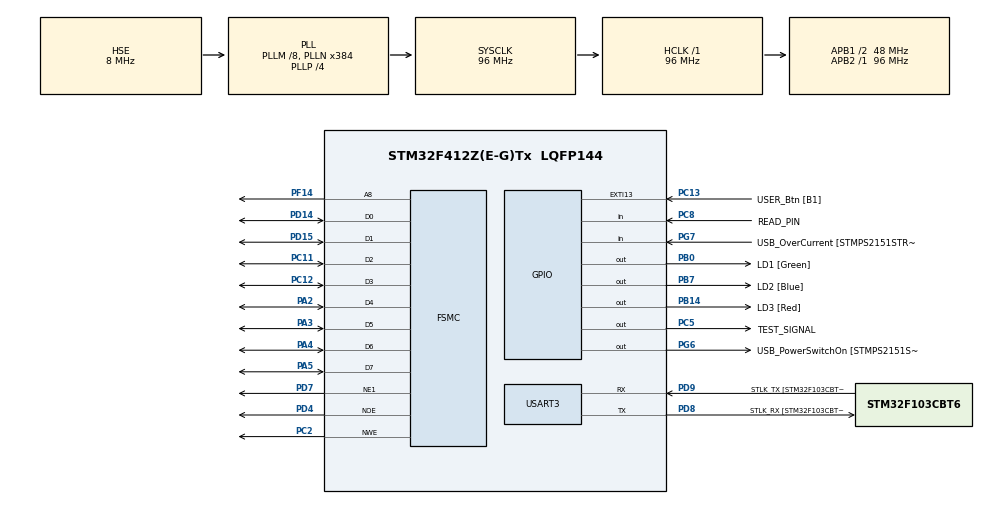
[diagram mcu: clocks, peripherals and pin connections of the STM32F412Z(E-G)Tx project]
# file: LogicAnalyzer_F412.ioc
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FREERTOS.Tasks01=defaultTask,40,128,StartDefaultTask,Default,NULL,Dynamic,NULL,NULL
FREERTOS.configUSE_NEWLIB_REENTRANT=1
FSMC.AddressSetupTime1=0
FSMC.BusTurnAroundDuration1=0
FSMC.DataSetupTime1=1
Mcu.Family=STM32F4
Mcu.Name=STM32F412Z(E-G)Tx
Mcu.Package=LQFP144
NVIC.PriorityGroup=NVIC_PRIORITYGROUP_4
NVIC.TIM1_UP_TIM10_IRQn=true\:15\:0\:false\:false\:true\:false\:false\:true
NVIC.TimeBase=TIM1_UP_TIM10_IRQn
NVIC.TimeBaseIP=TIM1
PA10.GPIO_Label=USB_ID
PA10.Signal=USB_OTG_FS_ID
PA11.GPIO_Label=USB_DM
PA11.Signal=USB_OTG_FS_DM
PA12.GPIO_Label=USB_DP
PA12.Signal=USB_OTG_FS_DP
PA13.GPIO_Label=TMS
PA13.Mode=Serial_Wire
PA13.Signal=SYS_JTMS-SWDIO
PA14.GPIO_Label=TCK
PA14.Mode=Serial_Wire
PA14.Signal=SYS_JTCK-SWCLK
PA2.Signal=FSMC_D4_DA4
PA3.Signal=FSMC_D5_DA5
PA4.Signal=FSMC_D6_DA6
PA5.Signal=FSMC_D7_DA7
PA8.GPIO_Label=USB_SOF [TP1]
PA8.Signal=USB_OTG_FS_SOF
PA9.GPIO_Label=USB_VBUS
PA9.Signal=USB_OTG_FS_VBUS
PB0.GPIO_Label=LD1 [Green]
PB0.Signal=GPIO_Output
PB14.GPIO_Label=LD3 [Red]
PB14.Signal=GPIO_Output
PB3.GPIO_Label=SWO
PB3.Signal=SYS_JTDO-SWO
PB7.GPIO_Label=LD2 [Blue]
PB7.Signal=GPIO_Output
PC11.Signal=FSMC_D2_DA2
PC12.Signal=FSMC_D3_DA3
PC13.GPIO_Label=USER_Btn [B1]
PC13.Signal=GPXTI13
PC14-OSC32_IN.Mode=LSE-External-Oscillator
PC14-OSC32_IN.Signal=RCC_OSC32_IN
PC15-OSC32_OUT.Mode=LSE-External-Oscillator
PC15-OSC32_OUT.Signal=RCC_OSC32_OUT
PC2.Signal=FSMC_NWE
PC5.GPIO_Label=TEST_SIGNAL
PC5.GPIO_Speed=GPIO_SPEED_FREQ_VERY_HIGH
PC5.PinState=GPIO_PIN_SET
PC5.Signal=GPIO_Output
PC8.GPIO_Label=READ_PIN
PC8.Signal=GPIO_Input
PD14.Signal=FSMC_D0_DA0
PD15.Signal=FSMC_D1_DA1
PD4.Signal=FSMC_NOE
PD7.Mode=NorPsramChipSelect1_1
PD7.Signal=FSMC_NE1
PD8.GPIO_Label=STLK_RX [STM32F103CBT6_PA3]
PD8.Mode=Asynchronous
PD8.Signal=USART3_TX
PD9.GPIO_Label=STLK_TX [STM32F103CBT6_PA2]
PD9.Mode=Asynchronous
PD9.Signal=USART3_RX
PF14.Signal=FSMC_A8
PG6.GPIO_Label=USB_PowerSwitchOn [STMPS2151STR_EN]
PG6.Signal=GPIO_Output
PG7.GPIO_Label=USB_OverCurrent [STMPS2151STR_FAULT]
PG7.Signal=GPIO_Input
PH0\ -\ OSC_IN.GPIO_Label=MCO
PH0\ -\ OSC_IN.Mode=HSE-External-Clock-Source
PH0\ -\ OSC_IN.Signal=RCC_OSC_IN
PH1\ -\ OSC_OUT.Mode=HSE-External-Clock-Source
PH1\ -\ OSC_OUT.Signal=RCC_OSC_OUT
ProjectManager.HeapSize=0x200
ProjectManager.StackSize=0x400
ProjectManager.TargetToolchain=STM32CubeIDE
RCC.48MHZClocksFreq_Value=24000000
RCC.AHBFreq_Value=96000000
RCC.APB1CLKDivider=RCC_HCLK_DIV2
RCC.APB1Freq_Value=48000000
RCC.APB1TimFreq_Value=96000000
RCC.APB2Freq_Value=96000000
RCC.APB2TimFreq_Value=96000000
RCC.CortexFreq_Value=96000000
RCC.HCLKFreq_Value=96000000
RCC.HSE_VALUE=8000000
RCC.HSI_VALUE=16000000
RCC.PLLM=8
RCC.PLLMUL=RCC_PLL_MUL9
RCC.PLLN=384
RCC.PLLP=RCC_PLLP_DIV4
RCC.PLLQ=8
RCC.PLLSourceVirtual=RCC_PLLSOURCE_HSE
RCC.PRESCALERUSB=RCC_USBCLKSOURCE_PLL_DIV1_5
RCC.SYSCLKFreq_VALUE=96000000
RCC.SYSCLKSource=RCC_SYSCLKSOURCE_PLLCLK
RCC.SYSCLKSourceVirtual=RCC_SYSCLKSOURCE_PLLCLK
RCC.USBFreq_Value=48000000
RCC.VCOOutputFreq_Value=384000000
SH.FSMC_A8.0=FSMC_A8,A8_1
SH.FSMC_D0_DA0.0=FSMC_D0,8b-d1
SH.FSMC_D1_DA1.0=FSMC_D1,8b-d1
SH.FSMC_D2_DA2.0=FSMC_D2,8b-d1
SH.FSMC_D3_DA3.0=FSMC_D3,8b-d1
SH.FSMC_D4_DA4.0=FSMC_D4,8b-d1
SH.FSMC_D5_DA5.0=FSMC_D5,8b-d1
SH.FSMC_D6_DA6.0=FSMC_D6,8b-d1
SH.FSMC_D7_DA7.0=FSMC_D7,8b-d1
SH.FSMC_NOE.0=FSMC_NOE,Lcd1
SH.FSMC_NWE.0=FSMC_NWE,Lcd1
TIM2.Channel-Output\ Compare1\ No\ Output=TIM_CHANNEL_1
TIM2.Prescaler=95
USART3.VirtualMode=VM_ASYNC
VP_FREERTOS_VS_CMSIS_V2.Mode=CMSIS_V2
VP_SYS_VS_tim1.Mode=TIM1
VP_TIM2_VS_no_output1.Mode=Output Compare1 No Output
board=NUCLEO-F412ZG

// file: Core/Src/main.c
/* USER CODE BEGIN Header */
/**
  ******************************************************************************
  * @file           : main.c
  * @brief          : Main program body
  ******************************************************************************
  * @attention
  *
  * <h2><center>&copy; Copyright (c) 2021 STMicroelectronics.
  * All rights reserved.</center></h2>
  *
  * This software component is licensed by ST under BSD 3-Clause license,
  * the "License"; You may not use this file except in compliance with the
  * License. You may obtain a copy of the License at:
  *                        opensource.org/licenses/BSD-3-Clause
  *
  ******************************************************************************
  */
/* USER CODE END Header */
#include "main.h"
#include "cmsis_os.h"

/* USER CODE BEGIN Includes */
//#include "usbd_cdc_if.h"
#include "work.h"
#include "cmsis_os2.h"
/* USER CODE END Includes */

TIM_HandleTypeDef htim2;

UART_HandleTypeDef huart3;

SRAM_HandleTypeDef hsram1;

/* Definitions for defaultTask */
osThreadId_t defaultTaskHandle;
const osThreadAttr_t defaultTask_attributes = {
  .name = "defaultTask",
  .stack_size = 128 * 4,
  .priority = (osPriority_t) osPriorityHigh,
};
/* USER CODE BEGIN PV */
uint8_t usb_receive_flag = 0;
osThreadId_t read_signal_id;
//extern USBD_HandleTypeDef hUsbDeviceFS;
uint32_t counter = 0;
osMessageQueueId_t messageQueueId;
/* USER CODE END PV */

void SystemClock_Config(void);
static void MX_GPIO_Init(void);
static void MX_USART3_UART_Init(void);
static void MX_TIM2_Init(void);
static void MX_FSMC_Init(void);
void StartDefaultTask(void *argument);

int main(void)
{

  /* MCU Configuration--------------------------------------------------------*/

  /* Reset of all peripherals, Initializes the Flash interface and the Systick. */
  HAL_Init();

  /* Configure the system clock */
  SystemClock_Config();

  /* Initialize all configured peripherals */
  MX_GPIO_Init();
  MX_USART3_UART_Init();
  MX_TIM2_Init();
  MX_FSMC_Init();

  /* Init scheduler */
  osKernelInitialize();

  /* USER CODE BEGIN RTOS_SEMAPHORES */
  /* add semaphores, ... */
  osSemaphoreId_t semaphore_id = osSemaphoreNew(1U,1U,NULL);
  /* USER CODE END RTOS_SEMAPHORES */

  /* USER CODE BEGIN RTOS_QUEUES */
  /* add queues, ... */
  messageQueueId = osMessageQueueNew(10,4,NULL);
  /* USER CODE END RTOS_QUEUES */

  /* Create the thread(s) */
  /* creation of defaultTask */
  defaultTaskHandle = osThreadNew(StartDefaultTask, NULL, &defaultTask_attributes);

  /* USER CODE BEGIN RTOS_THREADS */
  /* add threads, ... */
  osThreadAttr_t attr = {
          .name = "read_signal",
          .stack_size = 128 * 4,
          .priority = (osPriority_t) osPriorityHigh,
  };
  osThreadAttr_t attr2 = {
          .name = "wait_command",
          .stack_size = 128 * 4,
          .priority = (osPriority_t) osPriorityNormal,
  };
  osThreadNew(WaitCommandThread, NULL, &attr2);
  read_signal_id = osThreadNew(ReadSignalThread, NULL, &attr);

  /* USER CODE END RTOS_THREADS */

  /* Start scheduler */
  osKernelStart();

  /* We should never get here as control is now taken by the scheduler */
  /* Infinite loop */
  while (1)
  {

  }
}

void SystemClock_Config(void)
{
  RCC_OscInitTypeDef RCC_OscInitStruct = {0};
  RCC_ClkInitTypeDef RCC_ClkInitStruct = {0};

  /** Configure the main internal regulator output voltage
  */
  __HAL_RCC_PWR_CLK_ENABLE();
  __HAL_PWR_VOLTAGESCALING_CONFIG(PWR_REGULATOR_VOLTAGE_SCALE1);
  /** Initializes the RCC Oscillators according to the specified parameters
  * in the RCC_OscInitTypeDef structure.
  */
  RCC_OscInitStruct.OscillatorType = RCC_OSCILLATORTYPE_HSE;
  RCC_OscInitStruct.HSEState = RCC_HSE_BYPASS;
  RCC_OscInitStruct.PLL.PLLState = RCC_PLL_ON;
  RCC_OscInitStruct.PLL.PLLSource = RCC_PLLSOURCE_HSE;
  RCC_OscInitStruct.PLL.PLLM = 8;
  RCC_OscInitStruct.PLL.PLLN = 384;
  RCC_OscInitStruct.PLL.PLLP = RCC_PLLP_DIV4;
  RCC_OscInitStruct.PLL.PLLQ = 8;
  RCC_OscInitStruct.PLL.PLLR = 2;
  if (HAL_RCC_OscConfig(&RCC_OscInitStruct) != HAL_OK)
  {
    Error_Handler();
  }
  /** Initializes the CPU, AHB and APB buses clocks
  */
  RCC_ClkInitStruct.ClockType = RCC_CLOCKTYPE_HCLK|RCC_CLOCKTYPE_SYSCLK
                              |RCC_CLOCKTYPE_PCLK1|RCC_CLOCKTYPE_PCLK2;
  RCC_ClkInitStruct.SYSCLKSource = RCC_SYSCLKSOURCE_PLLCLK;
  RCC_ClkInitStruct.AHBCLKDivider = RCC_SYSCLK_DIV1;
  RCC_ClkInitStruct.APB1CLKDivider = RCC_HCLK_DIV2;
  RCC_ClkInitStruct.APB2CLKDivider = RCC_HCLK_DIV1;

  if (HAL_RCC_ClockConfig(&RCC_ClkInitStruct, FLASH_LATENCY_3) != HAL_OK)
  {
    Error_Handler();
  }
}

static void MX_TIM2_Init(void)
{

  TIM_MasterConfigTypeDef sMasterConfig = {0};
  TIM_OC_InitTypeDef sConfigOC = {0};

  htim2.Instance = TIM2;
  htim2.Init.Prescaler = 95;
  htim2.Init.CounterMode = TIM_COUNTERMODE_UP;
  htim2.Init.Period = 4294967295;
  htim2.Init.ClockDivision = TIM_CLOCKDIVISION_DIV1;
  htim2.Init.AutoReloadPreload = TIM_AUTORELOAD_PRELOAD_DISABLE;
  if (HAL_TIM_OC_Init(&htim2) != HAL_OK)
  {
    Error_Handler();
  }
  sMasterConfig.MasterOutputTrigger = TIM_TRGO_RESET;
  sMasterConfig.MasterSlaveMode = TIM_MASTERSLAVEMODE_DISABLE;
  if (HAL_TIMEx_MasterConfigSynchronization(&htim2, &sMasterConfig) != HAL_OK)
  {
    Error_Handler();
  }
  sConfigOC.OCMode = TIM_OCMODE_TIMING;
  sConfigOC.Pulse = 0;
  sConfigOC.OCPolarity = TIM_OCPOLARITY_HIGH;
  sConfigOC.OCFastMode = TIM_OCFAST_DISABLE;
  if (HAL_TIM_OC_ConfigChannel(&htim2, &sConfigOC, TIM_CHANNEL_1) != HAL_OK)
  {
    Error_Handler();
  }

}

static void MX_USART3_UART_Init(void)
{

  huart3.Instance = USART3;
  huart3.Init.BaudRate = 115200;
  huart3.Init.WordLength = UART_WORDLENGTH_8B;
  huart3.Init.StopBits = UART_STOPBITS_1;
  huart3.Init.Parity = UART_PARITY_NONE;
  huart3.Init.Mode = UART_MODE_TX_RX;
  huart3.Init.HwFlowCtl = UART_HWCONTROL_NONE;
  huart3.Init.OverSampling = UART_OVERSAMPLING_16;
  if (HAL_UART_Init(&huart3) != HAL_OK)
  {
    Error_Handler();
  }

}

static void MX_GPIO_Init(void)
{
  GPIO_InitTypeDef GPIO_InitStruct = {0};

  /* GPIO Ports Clock Enable */
  __HAL_RCC_GPIOC_CLK_ENABLE();
  __HAL_RCC_GPIOH_CLK_ENABLE();
  __HAL_RCC_GPIOA_CLK_ENABLE();
  __HAL_RCC_GPIOB_CLK_ENABLE();
  __HAL_RCC_GPIOF_CLK_ENABLE();
  __HAL_RCC_GPIOD_CLK_ENABLE();
  __HAL_RCC_GPIOG_CLK_ENABLE();

  /*Configure GPIO pin Output Level */
  HAL_GPIO_WritePin(TEST_SIGNAL_GPIO_Port, TEST_SIGNAL_Pin, GPIO_PIN_SET);

  /*Configure GPIO pin Output Level */
  HAL_GPIO_WritePin(GPIOB, LD1_Pin|LD3_Pin|LD2_Pin, GPIO_PIN_RESET);

  /*Configure GPIO pin Output Level */
  HAL_GPIO_WritePin(USB_PowerSwitchOn_GPIO_Port, USB_PowerSwitchOn_Pin, GPIO_PIN_RESET);

  /*Configure GPIO pin : USER_Btn_Pin */
  GPIO_InitStruct.Pin = USER_Btn_Pin;
  GPIO_InitStruct.Mode = GPIO_MODE_IT_RISING;
  GPIO_InitStruct.Pull = GPIO_NOPULL;
  HAL_GPIO_Init(USER_Btn_GPIO_Port, &GPIO_InitStruct);

  /*Configure GPIO pin : TEST_SIGNAL_Pin */
  GPIO_InitStruct.Pin = TEST_SIGNAL_Pin;
  GPIO_InitStruct.Mode = GPIO_MODE_OUTPUT_PP;
  GPIO_InitStruct.Pull = GPIO_NOPULL;
  GPIO_InitStruct.Speed = GPIO_SPEED_FREQ_VERY_HIGH;
  HAL_GPIO_Init(TEST_SIGNAL_GPIO_Port, &GPIO_InitStruct);

  /*Configure GPIO pins : LD1_Pin LD3_Pin LD2_Pin */
  GPIO_InitStruct.Pin = LD1_Pin|LD3_Pin|LD2_Pin;
  GPIO_InitStruct.Mode = GPIO_MODE_OUTPUT_PP;
  GPIO_InitStruct.Pull = GPIO_NOPULL;
  GPIO_InitStruct.Speed = GPIO_SPEED_FREQ_LOW;
  HAL_GPIO_Init(GPIOB, &GPIO_InitStruct);

  /*Configure GPIO pin : USB_PowerSwitchOn_Pin */
  GPIO_InitStruct.Pin = USB_PowerSwitchOn_Pin;
  GPIO_InitStruct.Mode = GPIO_MODE_OUTPUT_PP;
  GPIO_InitStruct.Pull = GPIO_NOPULL;
  GPIO_InitStruct.Speed = GPIO_SPEED_FREQ_LOW;
  HAL_GPIO_Init(USB_PowerSwitchOn_GPIO_Port, &GPIO_InitStruct);

  /*Configure GPIO pin : USB_OverCurrent_Pin */
  GPIO_InitStruct.Pin = USB_OverCurrent_Pin;
  GPIO_InitStruct.Mode = GPIO_MODE_INPUT;
  GPIO_InitStruct.Pull = GPIO_NOPULL;
  HAL_GPIO_Init(USB_OverCurrent_GPIO_Port, &GPIO_InitStruct);

  /*Configure GPIO pin : READ_PIN_Pin */
  GPIO_InitStruct.Pin = READ_PIN_Pin;
  GPIO_InitStruct.Mode = GPIO_MODE_INPUT;
  GPIO_InitStruct.Pull = GPIO_NOPULL;
  HAL_GPIO_Init(READ_PIN_GPIO_Port, &GPIO_InitStruct);

  /*Configure GPIO pins : USB_SOF_Pin USB_ID_Pin USB_DM_Pin USB_DP_Pin */
  GPIO_InitStruct.Pin = USB_SOF_Pin|USB_ID_Pin|USB_DM_Pin|USB_DP_Pin;
  GPIO_InitStruct.Mode = GPIO_MODE_AF_PP;
  GPIO_InitStruct.Pull = GPIO_NOPULL;
  GPIO_InitStruct.Speed = GPIO_SPEED_FREQ_VERY_HIGH;
  GPIO_InitStruct.Alternate = GPIO_AF10_OTG_FS;
  HAL_GPIO_Init(GPIOA, &GPIO_InitStruct);

}

/* FSMC initialization function */
static void MX_FSMC_Init(void)
{

  FSMC_NORSRAM_TimingTypeDef Timing = {0};

  /** Perform the SRAM1 memory initialization sequence
  */
  hsram1.Instance = FSMC_NORSRAM_DEVICE;
  hsram1.Extended = FSMC_NORSRAM_EXTENDED_DEVICE;
  /* hsram1.Init */
  hsram1.Init.NSBank = FSMC_NORSRAM_BANK1;
  hsram1.Init.DataAddressMux = FSMC_DATA_ADDRESS_MUX_DISABLE;
  hsram1.Init.MemoryType = FSMC_MEMORY_TYPE_SRAM;
  hsram1.Init.MemoryDataWidth = FSMC_NORSRAM_MEM_BUS_WIDTH_8;
  hsram1.Init.BurstAccessMode = FSMC_BURST_ACCESS_MODE_DISABLE;
  hsram1.Init.WaitSignalPolarity = FSMC_WAIT_SIGNAL_POLARITY_LOW;
  hsram1.Init.WaitSignalActive = FSMC_WAIT_TIMING_BEFORE_WS;
  hsram1.Init.WriteOperation = FSMC_WRITE_OPERATION_ENABLE;
  hsram1.Init.WaitSignal = FSMC_WAIT_SIGNAL_DISABLE;
  hsram1.Init.ExtendedMode = FSMC_EXTENDED_MODE_DISABLE;
  hsram1.Init.AsynchronousWait = FSMC_ASYNCHRONOUS_WAIT_DISABLE;
  hsram1.Init.WriteBurst = FSMC_WRITE_BURST_DISABLE;
  hsram1.Init.ContinuousClock = FSMC_CONTINUOUS_CLOCK_SYNC_ONLY;
  hsram1.Init.WriteFifo = FSMC_WRITE_FIFO_ENABLE;
  hsram1.Init.PageSize = FSMC_PAGE_SIZE_NONE;
  /* Timing */
  Timing.AddressSetupTime = 0;
  Timing.AddressHoldTime = 15;
  Timing.DataSetupTime = 1;
  Timing.BusTurnAroundDuration = 0;
  Timing.CLKDivision = 16;
  Timing.DataLatency = 17;
  Timing.AccessMode = FSMC_ACCESS_MODE_A;
  /* ExtTiming */

  if (HAL_SRAM_Init(&hsram1, &Timing, NULL) != HAL_OK)
  {
    Error_Handler( );
  }

}

void StartDefaultTask(void *argument)
{
  /* USER CODE BEGIN 5 */
//  while (hUsbDeviceFS.dev_state != USBD_STATE_CONFIGURED) {
//  }
//  osDelay(5000);
//  osThreadFlagsSet(read_signal_id, 1U);
  osThreadExit();
  /* Infinite loop */
  for(;;)
  {
    osDelay(1);
  }
  /* USER CODE END 5 */
}

void HAL_TIM_PeriodElapsedCallback(TIM_HandleTypeDef *htim)
{
  if (htim->Instance == TIM1) {
    HAL_IncTick();
  }
}

void Error_Handler(void)
{
  __disable_irq();
  while (1)
  {
  }
}

/************************ (C) COPYRIGHT STMicroelectronics *****END OF FILE****/
